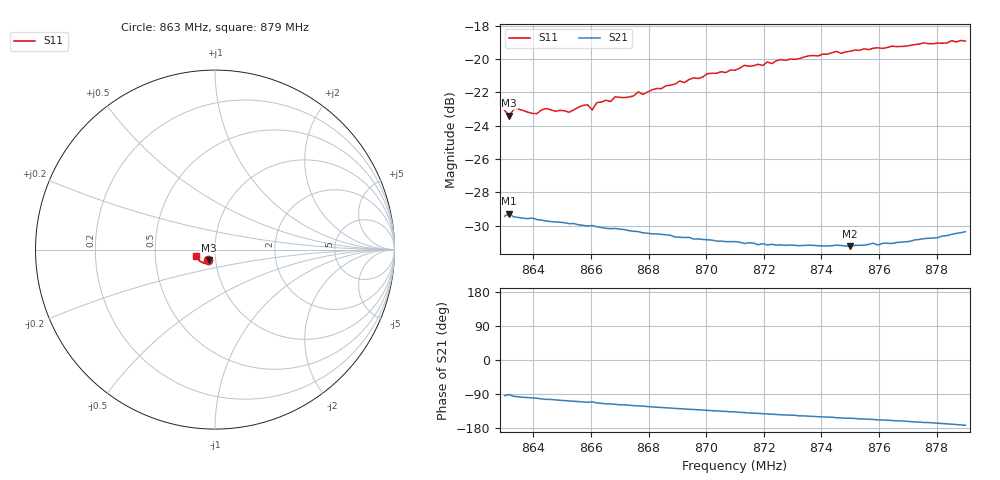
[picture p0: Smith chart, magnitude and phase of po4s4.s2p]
# HZ S RI R 50
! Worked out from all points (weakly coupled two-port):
!   101 points, 863 MHz to 879 MHz, reference 50 ohm
!   highest |S21| = -29.28 dB at 863.16 MHz (marker M1); lowest = -31.2 dB at 875 MHz (marker M2)
!   lowest |S11| = -23.4 dB at 863.16 MHz (marker M3), VSWR 1.15, Z = 46.4 - j5.43 ohm
!   |S11| at or under -10 dB: start of sweep to end of sweep
!   S12 and S22 are empty: the file has one direction only
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8.63e8  -0.0403 -0.0573  -0.0023 -0.0337  0 0  0 0
8.6316e8  -0.0343 -0.0583  -0.000656 -0.0343  0 0  0 0
8.6332e8  -0.0397 -0.0584  -0.00349 -0.0334  0 0  0 0
8.6396e8  -0.0363 -0.0583  -0.00575 -0.0329  0 0  0 0
8.6444e8  -0.0375 -0.0603  -0.00786 -0.0317  0 0  0 0
8.6524e8  -0.0337 -0.0604  -0.00991 -0.0305  0 0  0 0
8.6572e8  -0.035 -0.0635  -0.0112 -0.0297  0 0  0 0
8.6588e8  -0.0352 -0.0638  -0.0116 -0.0294  0 0  0 0
8.6604e8  -0.0322 -0.0625  -0.011 -0.0297  0 0  0 0
8.662e8  -0.0358 -0.0647  -0.0124 -0.0289  0 0  0 0
8.6668e8  -0.0351 -0.0657  -0.0135 -0.0279  0 0  0 0
8.6684e8  -0.0366 -0.0677  -0.0141 -0.0277  0 0  0 0
8.6732e8  -0.0367 -0.0676  -0.015 -0.0266  0 0  0 0
8.6844e8  -0.0404 -0.0707  -0.0172 -0.0244  0 0  0 0
8.7004e8  -0.05 -0.0752  -0.0196 -0.021  0 0  0 0
8.71e8  -0.0549 -0.0744  -0.0207 -0.0194  0 0  0 0
8.7132e8  -0.0584 -0.0758  -0.021 -0.0185  0 0  0 0
8.7196e8  -0.0618 -0.0729  -0.0219 -0.0174  0 0  0 0
8.7372e8  -0.0742 -0.0705  -0.0236 -0.0143  0 0  0 0
8.75e8  -0.0835 -0.0644  -0.0246 -0.0121  0 0  0 0
8.7644e8  -0.094 -0.0554  -0.0262 -0.00975  0 0  0 0
8.79e8  -0.1077 -0.0344  -0.0301 -0.00408  0 0  0 0
